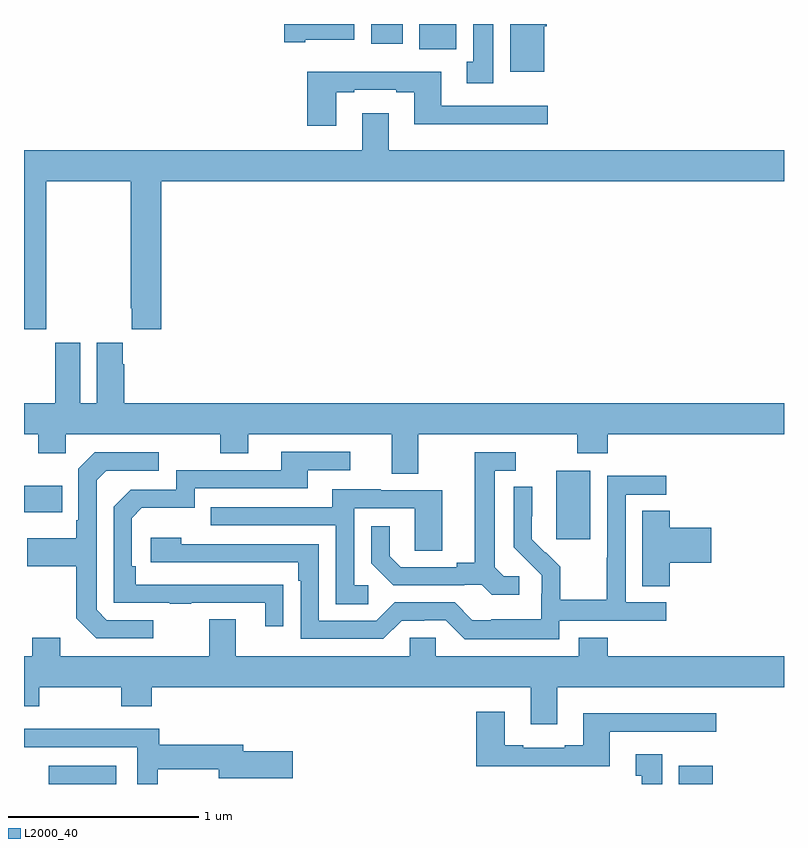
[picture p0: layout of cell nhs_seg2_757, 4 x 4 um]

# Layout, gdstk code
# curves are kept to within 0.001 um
import gdstk
lib = gdstk.Library(unit=1e-6, precision=1e-09)
def R(c, l, rs):  # rectangles x0, y0, x1, y1
    for r in rs: c.add(gdstk.rectangle(r[:2], r[2:], *l))
def P(c, l, *ps):  # polygons
    for p in ps: c.add(gdstk.Polygon(p, *l))
L2000_40 = (2000, 40)

nhs_seg2_757 = lib.new_cell('nhs_seg2_757')
R(nhs_seg2_757, L2000_40, [(149.129,641.8,149.485,641.896), (152.447,641.8,152.626,641.896), (151.802,643.089,151.981,643.45), (149,643.229,149.201,643.369), (151.079,645.668,151.276,645.8), (150.827,645.696,150.994,645.8)])
P(nhs_seg2_757, L2000_40, [(151.738,645.788),(151.751,645.788),(151.751,645.8),(151.559,645.8),(151.559,645.548),(151.738,645.548)],
  [(150.481,645.716),(150.739,645.716),(150.739,645.8),(150.369,645.8),(150.369,645.704),(150.481,645.704)],
  [(151.471,645.8),(151.364,645.8),(151.364,645.602),(151.331,645.602),(151.331,645.489),(151.471,645.489)],
  [(150.643,645.441),(150.739,645.441),(150.739,645.453),(150.959,645.453),(150.959,645.441),(151.055,645.441),(151.055,645.272),(151.756,645.272),(151.756,645.369),(151.195,645.369),(151.195,645.55),(150.491,645.55),(150.491,645.264),(150.643,645.264)],
  [(149.118,644.972),(149.563,644.972),(149.563,644.305),(149.567,644.305),(149.567,644.193),(149.723,644.193),(149.723,644.972),(153,644.972),(153,645.136),(150.919,645.136),(150.919,645.331),(150.779,645.331),(150.779,645.136),(149,645.136),(149,644.193),(149.118,644.193)],
  [(151.075,643.64),(151.912,643.64),(151.912,643.541),(152.072,643.541),(152.072,643.64),(153,643.64),(153,643.804),(149.528,643.804),(149.528,644.009),(149.521,644.009),(149.521,644.122),(149.384,644.122),(149.384,643.804),(149.296,643.804),(149.296,644.122),(149.165,644.122),(149.165,643.804),(149,643.804),(149,643.64),(149.074,643.64),(149.074,643.541),(149.22,643.541),(149.22,643.64),(150.034,643.64),(150.034,643.541),(150.181,643.541),(150.181,643.64),(150.935,643.64),(150.935,643.432),(151.075,643.432)],
  [(150.365,642.848),(149.588,642.849),(149.588,642.946),(149.568,642.946),(149.568,643.2),(149.621,643.253),(149.898,643.253),(149.898,643.356),(150.493,643.356),(150.493,643.452),(150.718,643.452),(150.718,643.548),(150.353,643.548),(150.353,643.452),(149.802,643.452),(149.802,643.35),(149.562,643.35),(149.472,643.26),(149.472,642.753),(149.767,642.753),(149.767,642.748),(149.879,642.748),(149.879,642.753),(150.269,642.753),(150.269,642.63),(150.365,642.63)],
  [(151.606,642.894),(151.524,642.894),(151.477,642.941),(151.477,643.449),(151.588,643.449),(151.588,643.545),(151.373,643.545),(151.373,642.965),(151.277,642.965),(151.277,642.942),(150.982,642.942),(150.925,642.999),(150.925,643.156),(150.828,643.156),(150.828,642.962),(150.944,642.846),(151.316,642.846),(151.316,642.849),(151.41,642.849),(151.462,642.797),(151.606,642.797)],
  [(149.68,642.663),(149.436,642.663),(149.382,642.717),(149.382,643.398),(149.433,643.449),(149.71,643.449),(149.71,643.545),(149.373,643.545),(149.286,643.458),(149.286,643.189),(149.274,643.189),(149.274,643.093),(149.017,643.093),(149.017,642.946),(149.274,642.946),(149.274,642.673),(149.379,642.567),(149.68,642.567)],
  [(151.818,642.66),(152.38,642.66),(152.38,642.756),(152.166,642.756),(152.166,643.323),(152.38,643.323),(152.38,643.422),(152.07,643.422),(152.07,642.992),(152.068,642.992),(152.068,642.769),(151.823,642.769),(151.823,642.943),(151.746,643.02),(151.743,643.017),(151.673,643.088),(151.674,643.364),(151.578,643.364),(151.578,643.046),(151.724,642.898),(151.724,642.801),(151.722,642.801),(151.722,642.667),(151.459,642.667),(151.459,642.663),(151.359,642.663),(151.266,642.756),(150.951,642.756),(150.855,642.66),(150.552,642.66),(150.552,643.062),(149.828,643.062),(149.828,643.096),(149.667,643.096),(149.667,642.966),(150.443,642.966),(150.443,642.869),(150.456,642.869),(150.456,642.564),(150.891,642.564),(150.987,642.66),(151.106,642.66),(151.106,642.663),(151.221,642.663),(151.321,642.563),(151.818,642.563)],
  [(150.811,642.846),(150.738,642.846),(150.738,643.251),(151.056,643.251),(151.056,643.027),(151.201,643.027),(151.201,643.347),(150.877,643.347),(150.877,643.351),(150.623,643.351),(150.623,643.257),(149.983,643.257),(149.983,643.161),(150.642,643.161),(150.642,642.745),(150.811,642.745)],
  [(152.399,642.965),(152.617,642.965),(152.617,643.148),(152.399,643.148),(152.399,643.238),(152.255,643.238),(152.255,642.841),(152.399,642.841)],
  [(151.807,642.308),(153,642.308),(153,642.472),(152.072,642.472),(152.072,642.571),(151.919,642.571),(151.919,642.472),(151.167,642.472),(151.167,642.57),(151.029,642.57),(151.029,642.472),(150.115,642.472),(150.115,642.667),(149.975,642.667),(149.975,642.472),(149.191,642.472),(149.191,642.571),(149.044,642.571),(149.044,642.472),(149,642.472),(149,642.209),(149.079,642.209),(149.079,642.308),(149.512,642.308),(149.512,642.209),(149.672,642.209),(149.672,642.308),(151.667,642.308),(151.667,642.114),(151.807,642.114)],
  [(152.083,642.075),(152.644,642.075),(152.644,642.172),(151.943,642.172),(151.943,642.004),(151.847,642.004),(151.847,641.991),(151.627,641.991),(151.627,642.004),(151.531,642.004),(151.531,642.181),(151.379,642.181),(151.379,641.894),(152.083,641.894)],
  [(149.704,641.878),(150.026,641.878),(150.026,641.831),(150.415,641.831),(150.415,641.973),(150.154,641.973),(150.154,642.007),(149.711,642.007),(149.711,642.09),(149.423,642.09),(149.423,642.092),(149.167,642.092),(149.167,642.09),(149,642.09),(149,641.994),(149.595,641.994),(149.595,641.8),(149.704,641.8)],
  [(152.359,641.956),(152.219,641.956),(152.219,641.843),(152.252,641.843),(152.252,641.8),(152.359,641.8)])

lib.write_gds('nhs_seg2_757.gds')
